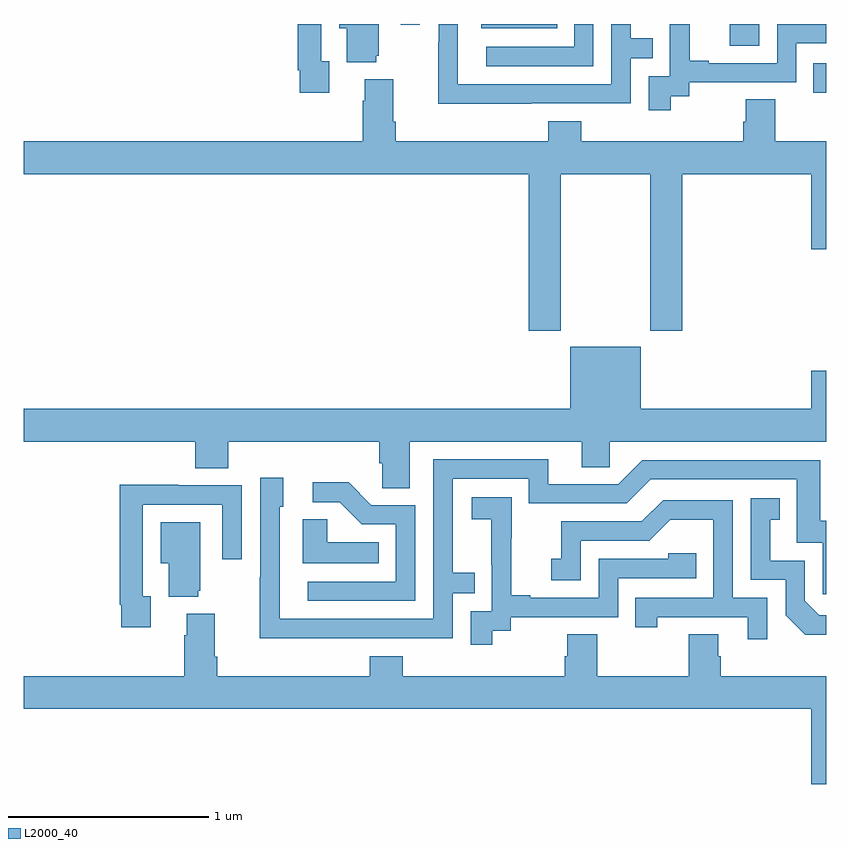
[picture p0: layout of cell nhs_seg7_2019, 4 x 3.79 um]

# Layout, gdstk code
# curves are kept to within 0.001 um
import gdstk
lib = gdstk.Library(unit=1e-6, precision=1e-09)
def R(c, l, rs):  # rectangles x0, y0, x1, y1
    for r in rs: c.add(gdstk.rectangle(r[:2], r[2:], *l))
def P(c, l, *ps):  # polygons
    for p in ps: c.add(gdstk.Polygon(p, *l))
L2000_40 = (2000, 40)

nhs_seg7_2019 = lib.new_cell('nhs_seg7_2019')
R(nhs_seg7_2019, L2000_40, [(248.935,1031.658,249,1031.805), (248.517,1031.892,248.664,1032), (247.28,1031.978,247.658,1032), (246.879,1031.997,246.975,1032)])
P(nhs_seg7_2019, L2000_40, [(246.758,1031.841),(246.769,1031.841),(246.769,1032),(246.572,1032),(246.572,1031.978),(246.611,1031.978),(246.611,1031.81),(246.758,1031.81)],
  [(248.224,1031.641),(248.316,1031.641),(248.316,1031.709),(248.85,1031.709),(248.85,1031.904),(249,1031.904),(249,1032),(248.754,1032),(248.754,1031.805),(248.413,1031.805),(248.413,1031.818),(248.318,1031.818),(248.318,1032),(248.219,1032),(248.219,1031.969),(248.22,1031.969),(248.22,1031.739),(248.115,1031.739),(248.115,1031.571),(248.224,1031.571)],
  [(247.839,1032),(247.743,1032),(247.743,1031.886),(247.305,1031.886),(247.305,1031.79),(247.839,1031.79)],
  [(246.523,1031.814),(246.483,1031.814),(246.483,1032),(246.367,1032),(246.367,1031.77),(246.375,1031.77),(246.375,1031.658),(246.523,1031.658)],
  [(247.529,1031.604),(248.025,1031.604),(248.025,1031.829),(248.135,1031.829),(248.135,1031.93),(248.025,1031.93),(248.025,1032),(247.929,1032),(247.929,1031.7),(247.164,1031.7),(247.164,1032),(247.068,1032),(247.068,1031.909),(247.066,1031.909),(247.066,1031.603),(247.529,1031.603)],
  [(247.677,1031.252),(248.122,1031.252),(248.122,1030.473),(248.282,1030.473),(248.282,1031.252),(248.924,1031.252),(248.924,1030.878),(249,1030.878),(249,1031.416),(248.745,1031.416),(248.745,1031.624),(248.597,1031.624),(248.597,1031.514),(248.585,1031.514),(248.585,1031.416),(247.778,1031.416),(247.778,1031.515),(247.613,1031.515),(247.613,1031.416),(246.854,1031.416),(246.854,1031.512),(246.841,1031.512),(246.841,1031.725),(246.701,1031.725),(246.701,1031.618),(246.689,1031.618),(246.689,1031.416),(245,1031.416),(245,1031.252),(247.517,1031.252),(247.517,1030.473),(247.677,1030.473)],
  [(246.925,1029.92),(247.781,1029.92),(247.781,1029.793),(247.92,1029.793),(247.92,1029.92),(249,1029.92),(249,1030.273),(248.924,1030.273),(248.924,1030.084),(248.074,1030.084),(248.074,1030.393),(247.724,1030.393),(247.724,1030.084),(245,1030.084),(245,1029.92),(245.855,1029.92),(245.855,1029.787),(246.02,1029.787),(246.02,1029.92),(246.773,1029.92),(246.773,1029.811),(246.786,1029.811),(246.786,1029.688),(246.925,1029.688)],
  [(246.641,1028.94),(247.137,1028.94),(247.137,1029.165),(247.247,1029.165),(247.247,1029.266),(247.137,1029.266),(247.137,1029.735),(247.518,1029.735),(247.518,1029.612),(248.004,1029.612),(248.124,1029.732),(248.853,1029.732),(248.853,1029.417),(248.982,1029.417),(248.982,1029.159),(249,1029.159),(249,1029.526),(248.969,1029.526),(248.969,1029.828),(248.082,1029.828),(247.962,1029.708),(247.615,1029.708),(247.615,1029.831),(247.041,1029.831),(247.041,1029.036),(246.276,1029.036),(246.276,1029.594),(246.295,1029.594),(246.295,1029.739),(246.18,1029.739),(246.18,1029.245),(246.178,1029.245),(246.178,1028.939)],
  [(246.951,1029.603),(246.732,1029.603),(246.619,1029.716),(246.441,1029.716),(246.441,1029.618),(246.575,1029.618),(246.686,1029.507),(246.855,1029.507),(246.855,1029.222),(246.417,1029.222),(246.417,1029.126),(246.951,1029.126)],
  [(245.635,1029.15),(245.595,1029.15),(245.595,1029.606),(245.991,1029.606),(245.991,1029.333),(246.087,1029.333),(246.087,1029.702),(245.771,1029.702),(245.771,1029.704),(245.479,1029.704),(245.479,1029.106),(245.487,1029.106),(245.487,1028.994),(245.635,1028.994)],
  [(247.336,1028.977),(247.428,1028.977),(247.428,1029.045),(247.962,1029.045),(247.962,1029.24),(248.351,1029.24),(248.351,1029.363),(248.211,1029.363),(248.211,1029.336),(247.866,1029.336),(247.866,1029.141),(247.525,1029.141),(247.525,1029.154),(247.43,1029.154),(247.43,1029.437),(247.431,1029.437),(247.431,1029.643),(247.233,1029.643),(247.233,1029.533),(247.331,1029.533),(247.331,1029.305),(247.332,1029.305),(247.332,1029.075),(247.227,1029.075),(247.227,1028.907),(247.336,1028.907)],
  [(249,1029.054),(248.964,1029.054),(248.892,1029.126),(248.892,1029.327),(248.719,1029.327),(248.719,1029.531),(248.768,1029.531),(248.768,1029.637),(248.622,1029.637),(248.622,1029.231),(248.796,1029.231),(248.796,1029.054),(248.894,1028.957),(249,1028.957)],
  [(248.706,1029.141),(248.532,1029.141),(248.532,1029.627),(248.186,1029.627),(248.081,1029.522),(247.678,1029.522),(247.678,1029.337),(247.629,1029.337),(247.629,1029.228),(247.776,1029.228),(247.776,1029.426),(248.118,1029.426),(248.222,1029.53),(248.436,1029.53),(248.436,1029.141),(248.047,1029.141),(248.047,1028.994),(248.158,1028.994),(248.158,1029.045),(248.609,1029.045),(248.609,1028.934),(248.706,1028.934)],
  [(246.77,1029.418),(246.513,1029.418),(246.513,1029.533),(246.392,1029.533),(246.392,1029.314),(246.77,1029.314)],
  [(245.87,1029.177),(245.881,1029.177),(245.881,1029.517),(245.684,1029.517),(245.684,1029.314),(245.723,1029.314),(245.723,1029.146),(245.87,1029.146)],
  [(246.725,1028.851),(246.725,1028.752),(245.966,1028.752),(245.966,1028.848),(245.953,1028.848),(245.953,1029.061),(245.813,1029.061),(245.813,1028.954),(245.801,1028.954),(245.801,1028.752),(245,1028.752),(245,1028.588),(248.924,1028.588),(248.924,1028.214),(249,1028.214),(249,1028.752),(248.474,1028.752),(248.474,1028.85),(248.461,1028.85),(248.461,1028.96),(248.314,1028.96),(248.314,1028.752),(247.857,1028.752),(247.857,1028.96),(247.709,1028.96),(247.709,1028.85),(247.697,1028.85),(247.697,1028.752),(246.89,1028.752),(246.89,1028.851)])

lib.write_gds('nhs_seg7_2019.gds')
